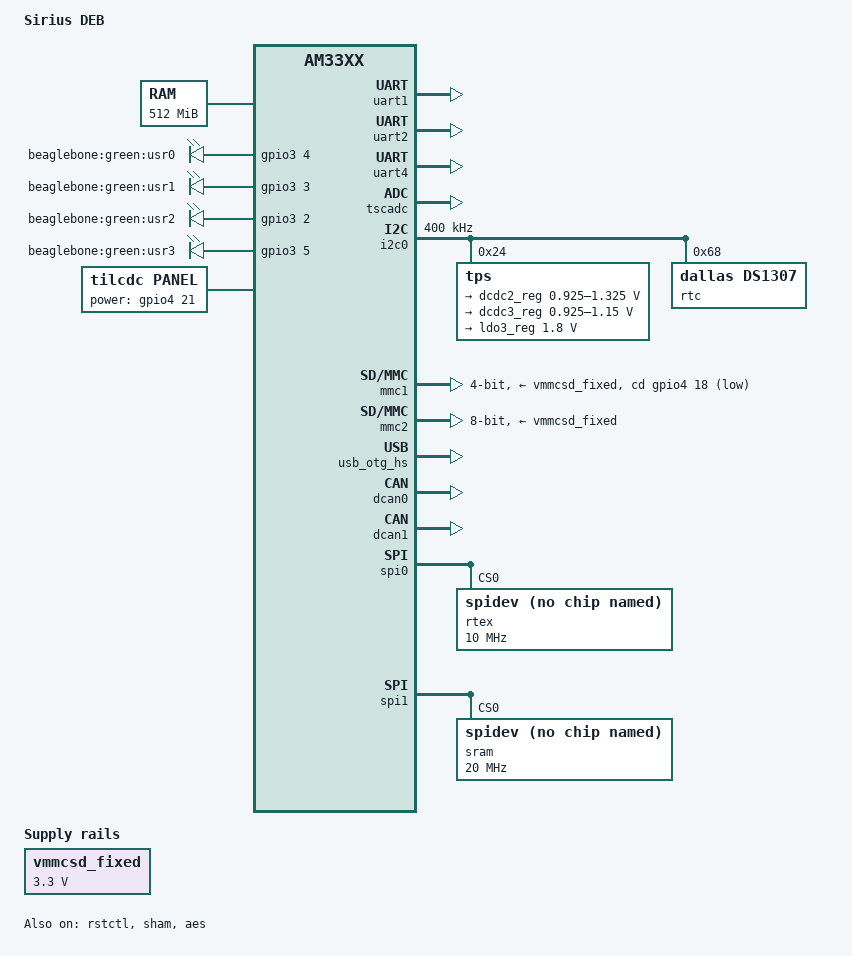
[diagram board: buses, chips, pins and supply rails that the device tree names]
/*
 * Copyright (C) 2016 Matteo Facchinetti <matteo.facchinetti@sirius-es.it>
 *    Sirius Electronic Systems - http://www.neo-sirius.it/
 *
 * This program is free software; you can redistribute it and/or modify
 * it under the terms of the GNU General Public License version 2 as
 * published by the Free Software Foundation.
 */

/dts-v1/;

/include/ "am33xx.dtsi"

/ {
	model = "Sirius DEB";
	compatible = "ses,siriusDEB", "ti,am33xx";

	cpus {
		cpu@0 {
			cpu0-supply = <&dcdc2_reg>;
			/*
			 * To consider voltage drop between PMIC and SoC,
			 * tolerance value is reduced to 2% from 4% and
			 * voltage value is increased as a precaution.
			 */
			operating-points = <
				/* kHz    uV */
				1000000	1350000
				800000	1300000
				600000  1112000
				300000   969000
			>;
		};
	};

	memory {
		device_type = "memory";
		reg = <0x80000000 0x20000000>; /* 512 MB */
	};

	am33xx_pinmux: pinmux@44e10800 {
		pinctrl-names = "default";

		userled_pins: pinmux_userled_pins {
			pinctrl-single,pins = <
				0x98 0x7	/* gpmc_wen.gpio2_4, OUTPUT | MODE7 */
				0x94 0x17	/* gpmc_oen_ren.gpio2_3, OUTPUT_PULLUP | MODE7 */
				0x90 0x7	/* gpmc_advn_ale.gpio2_2, OUTPUT | MODE7 */
				0x9c 0x17	/* gpmc_be0n_cle.gpio2_5, OUTPUT_PULLUP | MODE7 */
			>;
		};

		i2c0_pins: pinmux_i2c0_pins {
			pinctrl-single,pins = <
				0x188 0x70	/* i2c0_sda, SLEWCTRL_SLOW | INPUT_PULLUP | MODE0 */
				0x18c 0x70	/* i2c0_scl, SLEWCTRL_SLOW | INPUT_PULLUP | MODE0 */
			>;
		};

		mmc1_pins: pinmux_mmc1_pins {
			pinctrl-single,pins = <
				0x1a0 0x2f	/* mkasp0_aclkr.gpio3_18, PIN_INPUT | MUX_MODE7 */
			>;
		};

		dcan0_pins: pinmux_dcan0_pins {
			pinctrl-single,pins = <
				0x178 0x12	/* uart1_ctsn.d_can0_tx, SLEWCTRL_FAST | OUTPUT | MODE2 */
				0x17c 0x32	/* uart1_rtsn.d_can0_rx, SLEWCTRL_FAST | INPUT_PULLUP | MODE2 */
			>;
		};

		dcan1_pins: pinmux_dcan1_pins {
			pinctrl-single,pins = <
				0x168 0x12	/* uart0_ctsn.d_can1_tx, SLEWCTRL_FAST | OUTPUT | MODE2 */
				0x16c 0x32	/* uart0_rtsn.d_can1_rx, SLEWCTRL_FAST | INPUT_PULLUP | MODE2 */
			>;
		};

		uart0_pins: pinmux_uart0_pins {
			pinctrl-single,pins = <
				0x174 0x00	/* uart0_txd.uart0_txd  OUTPUT | MODE0 */
				0x170 0x20	/* uart0_rxd.uart0_rxd  INPUT  | MODE0 */
			>;
		};

		uart1_pins: pinmux_uart1_pins {
			pinctrl-single,pins = <
				0x184 0x00	/* uart1_txd.uart1_txd  OUTPUT | MODE0 */
				0x180 0x20	/* uart1_rxd.uart1_rxd  INPUT  | MODE0 */
				0x7c  0x07	/* gpmc_csn0.gpio1_29   OUTPUT | MODE7 */
			>;
		};

		uart3_pins: pinmux_uart3_pins {
			pinctrl-single,pins = <
				0x164 0x01	/* ecap0_in_pwm0_out.uart3_txd  OUTPUT | MODE1 */
				0x160 0x21	/* spi0_cs1.uart3_rxd           INPUT  | MODE1 */
			>;
		};

		rstctl_pins: pinmux_rstctl_pins {
			pinctrl-single,pins = <
				/* eMMC_RSTn */
				0x8c 0x17	/* gpmc_clk.gpio2_1, OUTPUT | MODE7 | PULLUP */
			>;
		};

		emmc2_pins: pinmux_emmc2_pins {
			pinctrl-single,pins = <
				0x80 0x32	/* gpmc_csn1.mmc1_clk, INPUT_PULLUP | MODE2 */
				0x84 0x32	/* gpmc_csn1.mmc1_cmd, INPUT_PULLUP | MODE2 */
				0x00 0x31	/* gpmc_ad0.mmc1_dat0, INPUT_PULLUP | MODE1 */
				0x04 0x31	/* gpmc_ad1.mmc1_dat1, INPUT_PULLUP | MODE1 */
				0x08 0x31	/* gpmc_ad2.mmc1_dat2, INPUT_PULLUP | MODE1 */
				0x0c 0x31	/* gpmc_ad3.mmc1_dat3, INPUT_PULLUP | MODE1 */
				0x10 0x31	/* gpmc_ad4.mmc1_dat4, INPUT_PULLUP | MODE1 */
				0x14 0x31	/* gpmc_ad5.mmc1_dat5, INPUT_PULLUP | MODE1 */
				0x18 0x31	/* gpmc_ad6.mmc1_dat6, INPUT_PULLUP | MODE1 */
				0x1c 0x31	/* gpmc_ad7.mmc1_dat7, INPUT_PULLUP | MODE1 */
			>;
		};

		lcdc_pins: pinmux_lcdc_pins {
			pinctrl-single,pins = <
				0xa0 0x08	/* lcd_data0.lcd_data0,           OUTPUT | PULL_DISABLE | MODE0 */
				0xa4 0x08	/* lcd_data1.lcd_data1,           OUTPUT | PULL_DISABLE | MODE0 */
				0xa8 0x08	/* lcd_data2.lcd_data2,           OUTPUT | PULL_DISABLE | MODE0 */
				0xac 0x08	/* lcd_data3.lcd_data3,           OUTPUT | PULL_DISABLE | MODE0 */
				0xb0 0x08	/* lcd_data4.lcd_data4,           OUTPUT | PULL_DISABLE | MODE0 */
				0xb4 0x08	/* lcd_data5.lcd_data5,           OUTPUT | PULL_DISABLE | MODE0 */
				0xb8 0x08	/* lcd_data6.lcd_data6,           OUTPUT | PULL_DISABLE | MODE0 */
				0xbc 0x08	/* lcd_data7.lcd_data7,           OUTPUT | PULL_DISABLE | MODE0 */
				0xc0 0x08	/* lcd_data8.lcd_data8,           OUTPUT | PULL_DISABLE | MODE0 */
				0xc4 0x08	/* lcd_data9.lcd_data9,           OUTPUT | PULL_DISABLE | MODE0 */
				0xc8 0x08	/* lcd_data10.lcd_data10,         OUTPUT | PULL_DISABLE | MODE0 */
				0xcc 0x08	/* lcd_data11.lcd_data11,         OUTPUT | PULL_DISABLE | MODE0 */
				0xd0 0x08	/* lcd_data12.lcd_data12,         OUTPUT | PULL_DISABLE | MODE0 */
				0xd4 0x08	/* lcd_data13.lcd_data13,         OUTPUT | PULL_DISABLE | MODE0 */
				0xd8 0x08	/* lcd_data14.lcd_data14,         OUTPUT | PULL_DISABLE | MODE0 */
				0xdc 0x08	/* lcd_data15.lcd_data15,         OUTPUT | PULL_DISABLE | MODE0 */
				0xe0 0x00	/* lcd_vsync.lcd_vsync,           OUTPUT |                MODE0 */
				0xe4 0x00	/* lcd_hsync.lcd_hsync,           OUTPUT |                MODE0 */
				0xe8 0x00	/* lcd_pclk.lcd_pclk,             OUTPUT |                MODE0 */
				0xec 0x00	/* lcd_ac_bias_en.lcd_ac_bias_en, OUTPUT |                MODE0 */

				0x144 0x07	/* rmii1_refclk.gpio0_29,         OUTPUT |                MODE7 */
				0x1ac 0x07	/* mcasp0_ahclkx.gpio3_21,        OUTPUT |                MODE7 */
			>;
		};

		spi0_pins: pinmux_spi0_pins {
			pinctrl-single,pins = <
				0x150 0x20	/* spi0_sclk.spi0_sclk, INPUT_PULLDOWN | MODE0 */
				0x154 0x30	/* spi0_d0.spi0_d0,     INPUT_PULLUP   | MODE0 */
				0x158 0x10	/* spi0_d1.spi0_d1,     OUTPUT_PULLUP  | MODE0 */
				0x15c 0x10	/* spi0_cs0.spi0_cs0,   OUTPUT_PULLUP  | MODE0 */
			>;
		};

		spi1_pins: pinmux_spi1_pins {
			pinctrl-single,pins = <
				0x190 0x23	/* mcasp0_aclkx.spi1_sclk, INPUT_PULLDOWN | MODE3 */
				0x194 0x33	/* mcasp0_fsx.spi1_d0,     INPUT_PULLUP   | MODE3 */
				0x198 0x13	/* mcasp0_axr0.spi1_d1,    OUTPUT_PULLUP  | MODE3 */
				0x19c 0x13	/* mcasp0_ahclkr.spi1_cs0, OUTPUT_PULLUP  | MODE3 */
			>;
		};

		gpio_helper_pins: pinmux_gpio_helper_pins {
			pinctrl-single,pins = <
				0x1a8 0x2f	/* mcasp0_axr1.gpio3_20,   INPUT  | MODE7 */
			>;
		};
	};

	ocp: ocp {

		uart1: serial@44e09000 {
			status = "okay";
			pinctrl-names = "default";
			pinctrl-0 = <&uart0_pins>;
		};

		uart2: serial@48022000 {
			status = "okay";
			pinctrl-names = "default";
			pinctrl-0 = <&uart1_pins>;
		};

		uart4: serial@481a6000 {
			status = "okay";
			pinctrl-names = "default";
			pinctrl-0 = <&uart3_pins>;
		};

		gpio-leds {
			compatible = "gpio-leds";
			pinctrl-names = "default";
			pinctrl-0 = <&userled_pins>;

			led0 {
				label = "beaglebone:green:usr0";
				gpios = <&gpio3 4 0>; /* gpio2_4, USR0,  GPIO_ACTIVE_HIGH */
				linux,default-trigger = "heartbeat";
				default-state = "off";
			};

			led1 {
				label = "beaglebone:green:usr1";
				gpios = <&gpio3 3 0>; /* gpio2_3, USR1, GPIO_ACTIVE_HIGH */
				linux,default-trigger = "mmc0";
				default-state = "off";
			};

			led2 {
				label = "beaglebone:green:usr2";
				gpios = <&gpio3 2 0>; /* gpio2_2, USR2, GPIO_ACTIVE_HIGH */
				linux,default-trigger = "cpu0";
				default-state = "off";
			};

			led3 {
				label = "beaglebone:green:usr3";
				gpios = <&gpio3 5 0>; /* gpio2_5, USR3, GPIO_ACTIVE_HIGH */
				default-state = "off";
				linux,default-trigger = "mmc1";
			};
		};

		rtc@44e3e000 {
			status = "disabled";
		};

		panel {
			compatible = "tilcdc,panel";
			pinctrl-names = "default";
			pinctrl-0 = <&lcdc_pins>;
			ti,power-gpio = <&gpio4 21 0x0>; /* gpio3_21, LVDS_PUP, GPIO_ACTIVE_HIGH */

			panel-info {
				ac-bias           = <255>;
				ac-bias-intrpt    = <0>;
				dma-burst-sz      = <16>;
				bpp               = <16>;
				fdd               = <0x80>;
				tft-alt-mode      = <0>;
				stn-565-mode      = <0>;
				mono-8bit-mode    = <0>;
				sync-edge         = <0>;
				sync-ctrl         = <1>;
				raster-order      = <0>;
				fifo-th           = <0>;
			};

			display-timings {
				native-mode = <&timing0>;

				timing0: 480x272 {
					hactive         = <480>;
					vactive         = <272>;
					hback-porch     = <2>;
					hfront-porch    = <2>;
					hsync-len       = <41>;
					vback-porch     = <2>;
					vfront-porch    = <2>;
					vsync-len       = <10>;
					clock-frequency = <9000000>;
					hsync-active    = <0>;
					vsync-active    = <0>;
				};

				timing1: 800x480 {
					hactive         = <800>;
					vactive         = <480>;
					hback-porch     = <40>;
					hfront-porch    = <40>;
					hsync-len       = <48>;
					vback-porch     = <30>;
					vfront-porch    = <13>;
					vsync-len       = <3>;
					clock-frequency = <30000000>;
					hsync-active    = <0>;
					vsync-active    = <0>;
				};

				timing2: 320x241 {
					hactive         = <320>;
					vactive         = <241>;
					hback-porch     = <22>;
					hfront-porch    = <59>;
					hsync-len       = <48>;
					vback-porch     = <12>;
					vfront-porch    = <23>;
					vsync-len       = <2>;
					clock-frequency = <8000000>;
					hsync-active    = <0>;
					vsync-active    = <0>;
				};

				timing3: 800x600 {
					hactive         = <800>;
					vactive         = <600>;
					hback-porch     = <40>;
					hfront-porch    = <40>;
					hsync-len       = <48>;
					vback-porch     = <30>;
					vfront-porch    = <13>;
					vsync-len       = <3>;
					clock-frequency = <40000000>;
					hsync-active    = <0>;
					vsync-active    = <0>;
				};

				timing4: 1024x768 {
					hactive         = <1024>;
					vactive         = <768>;
					hback-porch     = <24>;
					hfront-porch    = <160>;
					hsync-len       = <136>;
					vback-porch     = <3>;
					vfront-porch    = <29>;
					vsync-len       = <6>;
					clock-frequency = <65000000>;
					hsync-active    = <0>;
					vsync-active    = <0>;
				};
			};
		};

		fb {
			compatible = "ti,am33xx-tilcdc";
			reg = <0x4830e000 0x1000>;
			interrupt-parent = <&intc>;
			interrupts = <36>;
			ti,hwmods = "lcdc";
			ti,power-gpio = <&gpio1 29 0x0>; /* gpio0_29, ENA_VDD, GPIO_ACTIVE_HIGH */
			ti,allow-non-reduced-blanking-modes;
		};

		/*
		 * !!!WARNING!!!
		 * gpio-of-helper &gpio pointers are off-by-one vs. the hardware:
		 *   hardware GPIO bank 0 = &gpio1
		 */
		gpio_export {
			compatible = "gpio-of-helper";
			status = "okay";
			pinctrl-names = "default";
			pinctrl-0 = <&gpio_helper_pins>;

			PIC_RESET {
				gpio-name = "PIC_RESET";
				gpio = <&gpio4 20 0>; /* gpio3_20, TP32, GPIO_ACTIVE_HIGH ==> PCB change... connects TP38 pin to PIC_RESET */
				output;
				init-low;
			};
		};

		tscadc {
			compatible = "ti,ti-tscadc";
			reg = <0x44e0d000 0x1000>;

			interrupt-parent = <&intc>;
			interrupts = <16>;
			ti,hwmods = "adc_tsc";
			status = "okay";

			adc {
				ti,adc-channels = <0 1 2 3 4 5 6 7>;
			};
		};

		ain-helper {
			compatible = "bone-iio-helper";
			vsense-name  = "AIN0", "AIN1", "AIN2", "AIN3", "AIN4", "AIN5", "AIN6", "AIN7";
			vsense-scale = <100     100     100     100     100     100     100     100>;
			status = "okay";
		};
	};

	vmmcsd_fixed: fixedregulator@0 {
		compatible = "regulator-fixed";
		regulator-name = "vmmcsd_fixed";
		regulator-min-microvolt = <3300000>;
		regulator-max-microvolt = <3300000>;
	};
};

&i2c0 {
	status = "okay";
	clock-frequency = <400000>;
	pinctrl-names = "default";
	pinctrl-0 = <&i2c0_pins>;

	tps: tps@24 {
		reg = <0x24>;
	};

	rtc@68 {
		compatible = "dallas,ds1307";
		reg = <0x68>;
	};
};

/include/ "tps65217.dtsi"

&tps {
	ti,pmic-shutdown-controller;

	/*
	 * interrupt disabled:
	 *  - no power button
	 *  - no power supply change notify (USB/AC)
	 */

	backlight {
		compatible = "tps65217-backlight";
		isel = <1>;
		fdim = <100>;
		brightness = <100>;
		tps = <&tps>;
	};

	regulators {
		dcdc1_reg: regulator@0 {
			regulator-always-on;
		};

		dcdc2_reg: regulator@1 {
			/* VDD_MPU voltage limits 0.95V - 1.26V with +/-4% tolerance */
			regulator-name = "vdd_mpu";
			regulator-min-microvolt = <925000>;
			regulator-max-microvolt = <1325000>;
			regulator-boot-on;
			regulator-always-on;
		};

		dcdc3_reg: regulator@2 {
			/* VDD_CORE voltage limits 0.95V - 1.1V with +/-4% tolerance */
			regulator-name = "vdd_core";
			regulator-min-microvolt = <925000>;
			regulator-max-microvolt = <1150000>;
			regulator-boot-on;
			regulator-always-on;
		};

		ldo1_reg: regulator@3 {
			regulator-always-on;
		};

		ldo2_reg: regulator@4 {
			regulator-always-on;
		};

		/* LS1_OUT */
		ldo3_reg: regulator@5 {
			regulator-min-microvolt = <1800000>;
			regulator-max-microvolt = <1800000>;
			regulator-always-on;
		};

		/* LS2_OUT */
		ldo4_reg: regulator@6 {
			regulator-always-on;
		};
	};
};

&cpsw_emac0 {
	phy_id = <&davinci_mdio>, <0>;
};

&cpsw_emac1 {
	phy_id = <&davinci_mdio>, <1>;
};

&rstctl {
	status = "okay";
	compatible = "gpio-rctrl";
	pinctrl-names = "default";
	pinctrl-0 = <&rstctl_pins>;

	#reset-cells = <2>;

	gpios = <&gpio3 1 0x0>; /* gpio2_1, EMMC_RST, GPIO_ACTIVE_HIGH */
	gpio-names = "eMMC_RSTn";
};

&mmc1 {
	pinctrl-names = "default";
	pinctrl-0 = <&mmc1_pins>;
	bus-width = <0x4>;
	cd-gpios = <&gpio4 18 0>; /* gpio3_18, MMC0_CD, GPIO_ACTIVE_HIGH */
	cd-inverted;
	status = "okay";
	vmmc-supply = <&vmmcsd_fixed>;
	ti,vcc-aux-disable-is-sleep;
};

&mmc2 {
	pinctrl-names = "default";
	pinctrl-0 = <&emmc2_pins>;      /* wrong numbering */
	vmmc-supply = <&vmmcsd_fixed>;
	bus-width = <8>;
	ti,non-removable;
	status = "okay";
	ti,vcc-aux-disable-is-sleep;

	reset = <&rstctl 0 0>;
	reset-names = "eMMC_RSTn-CONSUMER";
};

&edma {
	ti,edma-xbar-event-map = <32 12>,	/* gpevt2 -> 12 */
				 <30 20>;	/* xdma_event_intr2 -> 20 */
};

&sham {
	status = "okay";
};

&aes {
	status = "okay";
};

&usb_otg_hs {
	interface_type = <1>;
	power = <250>;
	port0-mode = <1>; /* host */
	port1-mode = <1>; /* host */
	status = "okay";
};

&dcan0 {
	#address-cells = <1>;
	#size-cells = <0>;

	status = "okay";
	pinctrl-names = "default";
	pinctrl-0 = <&dcan0_pins>;
};

&dcan1 {
	#address-cells = <1>;
	#size-cells = <0>;

	status = "okay";
	pinctrl-names = "default";
	pinctrl-0 = <&dcan1_pins>;
};

&spi0 {
	#address-cells = <1>;
	#size-cells = <0>;

	status = "okay";
	pinctrl-names = "default";
	pinctrl-0 = <&spi0_pins>;

	rtex@0 {
		#address-cells = <1>;
		#size-cells = <0>;

		compatible = "spidev";
		reg = <0>;
		spi-max-frequency = <10000000>;
	};
};

&spi1 {
	#address-cells = <1>;
	#size-cells = <0>;

	status = "okay";
	pinctrl-names = "default";
	pinctrl-0 = <&spi1_pins>;

	sram@0 {
		#address-cells = <1>;
		#size-cells = <0>;

		compatible = "spidev";
		reg = <0>;
		spi-max-frequency = <20000000>;
	};
};
